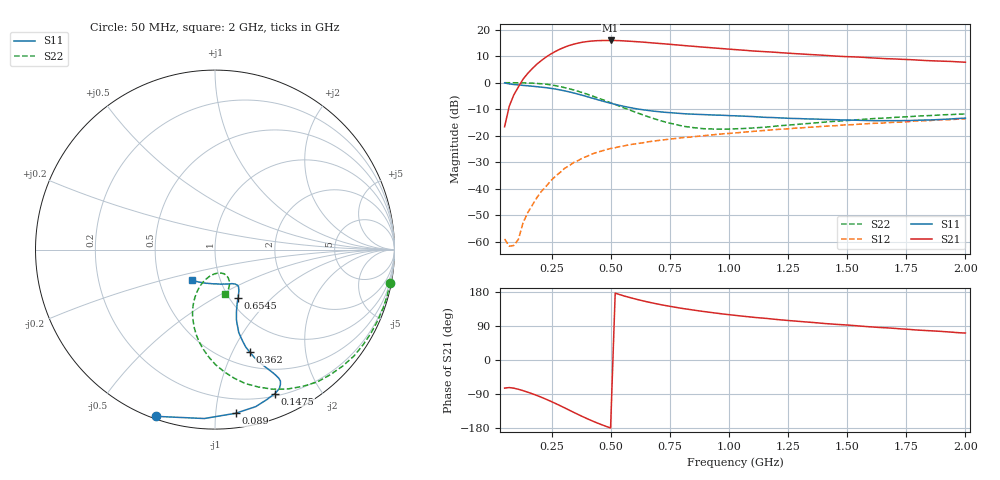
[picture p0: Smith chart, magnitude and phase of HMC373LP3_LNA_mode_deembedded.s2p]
!Hittite Microwave Corporation
!12 Elizabeth Drive
!Chelmsford, MA 01824
!Tel: 978-250-3343
!Fax: 978-250-3373
!Device: HMC373LP3, 750-1000 MHz, GaAs PHEMT MMIC Low Noise Amplifier with Bypass Mode in leadless QFN SMT package
!Misc: Vdd = 5V, LNA Mode, data is deembedded to the pins of the device, Room
# MHZ S MA R 50
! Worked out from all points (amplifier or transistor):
!   101 points, 50 MHz to 2 GHz, reference 50 ohm
!   highest |S21| = 15.9 dB at 498.5 MHz (marker M1)
!   |S21| within 3 dB of that: 291.7 MHz to 960.3 MHz (668.6 MHz wide, 107 % of centre)
!   unconditionally stable (mu >= 1): 57.61 MHz to end of sweep
!   at 362 MHz: K = 1.32, MAG = 18.7 dB, |S12| = -29.4 dB
!   at 1.025 GHz: K = 1.19, MAG = 13.1 dB, |S12| = -19.0 dB
!   at 2 GHz: K = 1.10, MAG = 8.8 dB, |S12| = -13.7 dB
!   S11 on the Smith chart (normalised r, x): 50 MHz: 0.01, -0.71; 89 MHz: 0.10, -1.13; 147.5 MHz: 0.22, -1.47; 362 MHz: 0.65, -1.17; 654.5 MHz: 1.09, -0.65; 2 GHz: 0.73, -0.26
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50  0.986 -109.6  0.147 -74.1  0.001119 -112.9  0.993 -10.6
89  0.919 -82.8  0.585 -74.3  0.0008435 57.9  0.992 -19.1
108.5  0.904 -75.5  0.831 -77.3  0.001104 143.6  0.989 -23.5
147.5  0.869 -67.5  1.483 -84.9  0.003477 147.3  0.981 -32.7
206  0.818 -63.5  2.613 -98.4  0.00887 149.3  0.948 -47.3
245  0.778 -64.2  3.446 -108.9  0.014 146.2  0.905 -57.4
284  0.727 -66.1  4.263 -120.2  0.02 141.7  0.841 -67.6
323  0.668 -68.8  5.004 -132.2  0.027 136.2  0.765 -77.3
362  0.603 -71.2  5.562 -144.0  0.034 130.3  0.683 -85.7
381.5  0.571 -72.4  5.794 -149.8  0.038 127.0  0.64 -89.8
440  0.48 -74.0  6.164 -165.8  0.048 118.0  0.52 -99.9
498.5  0.407 -73.0  6.228 -179.4  0.057 110.6  0.416 -107.0
557  0.354 -70.1  6.101 168.7  0.064 104.3  0.33 -111.5
615.5  0.316 -66.7  5.878 159.1  0.071 99.3  0.264 -113.1
654.5  0.299 -64.6  5.707 153.4  0.076 96.6  0.229 -112.6
713  0.279 -61.9  5.432 145.8  0.082 92.9  0.189 -109.7
849.5  0.253 -58.6  4.828 131.8  0.095 86.7  0.141 -95.8
1025  0.236 -57.7  4.189 117.9  0.112 80.6  0.134 -77.4
1220  0.215 -62.3  3.656 105.9  0.132 75.1  0.154 -67.1
1356.5  0.205 -69.0  3.357 98.9  0.145 72.1  0.172 -65.2
1688  0.191 -94.6  2.803 84.0  0.177 63.9  0.218 -68.6
2000  0.213 -126.6  2.421 71.1  0.206 56.3  0.256 -77.3
